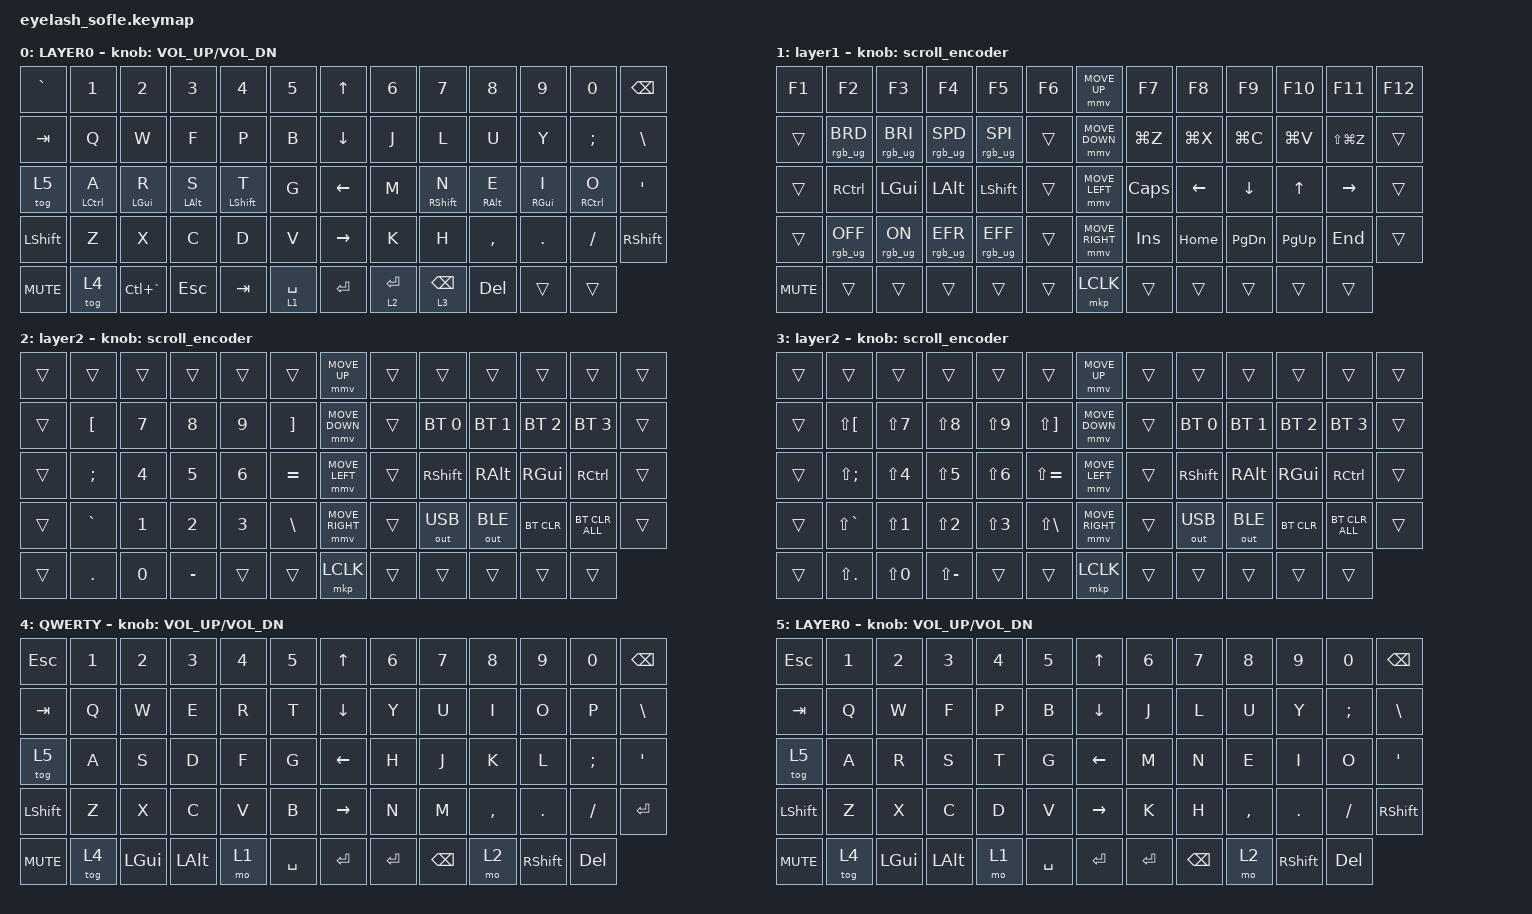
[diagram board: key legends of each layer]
#define ZMK_POINTING_DEFAULT_MOVE_VAL 1200  // 600
#define ZMK_POINTING_DEFAULT_SCRL_VAL 25   // 10

#include <input/processors.dtsi>
#include <zephyr/dt-bindings/input/input-event-codes.h>
#include <behaviors.dtsi>
#include <dt-bindings/zmk/bt.h>
#include <dt-bindings/zmk/keys.h>
#include <dt-bindings/zmk/outputs.h>
#include <dt-bindings/zmk/pointing.h>
#include <dt-bindings/zmk/rgb.h>

&mmv_input_listener { input-processors = <&zip_xy_scaler 2 1>; };

&msc_input_listener { input-processors = <&zip_scroll_scaler 2 1>; };

&msc {
    acceleration-exponent = <1>;      // 0
    time-to-max-speed-ms = <100>;       // 300
    delay-ms = <0>;                   // 0
};

&mmv {
    time-to-max-speed-ms = <500>;
    acceleration-exponent = <1>;
    trigger-period-ms = <16>;
};

&soft_off { hold-time-ms = <2000>; };

/ {
    scroll_encoder: scroll_encoder {
        compatible = "zmk,behavior-sensor-rotate";
        #sensor-binding-cells = <0>;
        bindings = <&msc SCRL_DOWN>, <&msc SCRL_UP>;

        tap-ms = <100>;
    };

    u_lt: u_lt {
        compatible = "zmk,behavior-hold-tap";
        label = "U_LT";
        bindings = <&mo>, <&kp>;

        #binding-cells = <2>;
        flavor = "tap-preferred";
        tapping-term-ms = <200>;
    };

    u_mt: u_mt {
        compatible = "zmk,behavior-hold-tap";
        label = "U_MT";
        bindings = <&kp>, <&kp>;

        #binding-cells = <2>;
        flavor = "tap-preferred";
        tapping-term-ms = <200>;
    };

    behaviors {
    };

    combos {
        compatible = "zmk,combos";

        softoff {
            bindings = <&soft_off>;
            key-positions = <14 28 40>;
        };
    };

    keymap {
        compatible = "zmk,keymap";

        BASE {
            bindings = <
&kp GRAVE   &kp N1         &kp N2         &kp N3        &kp N4         &kp N5           &kp UP_ARROW     &kp N6       &kp N7             &kp N8        &kp N9        &kp N0         &kp BACKSPACE
&kp TAB     &kp Q          &kp W          &kp F         &kp P          &kp B            &kp DOWN_ARROW   &kp J        &kp L              &kp U         &kp Y         &kp SEMI       &kp BSLH
&tog 5      &u_mt LCTRL A  &u_mt LGUI R   &u_mt LALT S  &u_mt LSHFT T  &kp G            &kp LEFT_ARROW   &kp M        &u_mt RSHFT N      &u_mt RALT E  &u_mt RGUI I  &u_mt RCTRL O  &kp APOS
&kp LSHFT   &kp Z          &kp X          &kp C         &kp D          &kp V            &kp RIGHT_ARROW  &kp K        &kp H              &kp COMMA     &kp DOT       &kp FSLH       &kp RSHFT
&kp C_MUTE  &tog 4         &kp LC(GRAVE)  &kp ESC       &kp TAB        &u_lt 1 SPACE    &kp ENTER        &u_lt 2 RET  &u_lt 3 BACKSPACE  &kp DEL       &trans        &trans
            >;

            sensor-bindings = <&inc_dec_kp C_VOLUME_UP C_VOL_DN>;
            display-name = "LAYER0";
            label = "BASE";
        };

        NAVIGATION {
            bindings = <
&kp F1      &kp F2           &kp F3           &kp F4           &kp F5           &kp F6    &mmv MOVE_UP     &kp F7     &kp F8     &kp F9         &kp F10    &kp F11        &kp F12
&trans      &rgb_ug RGB_BRD  &rgb_ug RGB_BRI  &rgb_ug RGB_SPD  &rgb_ug RGB_SPI  &trans    &mmv MOVE_DOWN   &kp LG(Z)  &kp LG(X)  &kp LG(C)      &kp LG(V)  &kp LS(LG(Z))  &trans
&trans      &kp RCTRL        &kp LGUI         &kp LALT         &kp LSHFT        &trans    &mmv MOVE_LEFT   &kp CAPS   &kp LEFT   &kp DOWN       &kp UP     &kp RIGHT      &trans
&trans      &rgb_ug RGB_OFF  &rgb_ug RGB_ON   &rgb_ug RGB_EFR  &rgb_ug RGB_EFF  &trans    &mmv MOVE_RIGHT  &kp INS    &kp HOME   &kp PAGE_DOWN  &kp PG_UP  &kp END        &trans
&kp C_MUTE  &trans           &trans           &trans           &trans           &trans    &mkp LCLK        &trans     &trans     &trans         &trans     &trans
            >;

            display-name = "layer1";
            sensor-bindings = <&scroll_encoder>;
            label = "Nav";
        };

        NUMBER {
            bindings = <
&trans  &trans     &trans  &trans     &trans  &trans       &mmv MOVE_UP     &trans  &trans        &trans        &trans        &trans          &trans
&trans  &kp LBKT   &kp N7  &kp N8     &kp N9  &kp RBKT     &mmv MOVE_DOWN   &trans  &bt BT_SEL 0  &bt BT_SEL 1  &bt BT_SEL 2  &bt BT_SEL 3    &trans
&trans  &kp SEMI   &kp N4  &kp N5     &kp N6  &kp EQUAL    &mmv MOVE_LEFT   &trans  &kp RSHFT     &kp RALT      &kp RGUI      &kp RCTRL       &trans
&trans  &kp GRAVE  &kp N1  &kp N2     &kp N3  &kp BSLH     &mmv MOVE_RIGHT  &trans  &out OUT_USB  &out OUT_BLE  &bt BT_CLR    &bt BT_CLR_ALL  &trans
&trans  &kp DOT    &kp N0  &kp MINUS  &trans  &trans       &mkp LCLK        &trans  &trans        &trans        &trans        &trans
            >;

            display-name = "layer2";
            sensor-bindings = <&scroll_encoder>;
            label = "Num";
        };

        SYMBOL {
            display-name = "layer2";
            bindings = <
&trans  &trans         &trans      &trans         &trans      &trans           &mmv MOVE_UP     &trans  &trans        &trans        &trans        &trans          &trans
&trans  &kp LS(LBKT)   &kp LS(N7)  &kp LS(N8)     &kp LS(N9)  &kp LS(RBKT)     &mmv MOVE_DOWN   &trans  &bt BT_SEL 0  &bt BT_SEL 1  &bt BT_SEL 2  &bt BT_SEL 3    &trans
&trans  &kp LS(SEMI)   &kp LS(N4)  &kp LS(N5)     &kp LS(N6)  &kp LS(EQUAL)    &mmv MOVE_LEFT   &trans  &kp RSHFT     &kp RALT      &kp RGUI      &kp RCTRL       &trans
&trans  &kp LS(GRAVE)  &kp LS(N1)  &kp LS(N2)     &kp LS(N3)  &kp LS(BSLH)     &mmv MOVE_RIGHT  &trans  &out OUT_USB  &out OUT_BLE  &bt BT_CLR    &bt BT_CLR_ALL  &trans
&trans  &kp LS(DOT)    &kp LS(N0)  &kp LS(MINUS)  &trans      &trans           &mkp LCLK        &trans  &trans        &trans        &trans        &trans
            >;

            sensor-bindings = <&scroll_encoder>;
            label = "Sym";
        };

        QWERTY {
            display-name = "QWERTY";
            bindings = <
&kp ESC     &kp N1  &kp N2        &kp N3        &kp N4  &kp N5       &kp UP_ARROW     &kp N6   &kp N7         &kp N8     &kp N9           &kp N0      &kp BACKSPACE
&kp TAB     &kp Q   &kp W         &kp E         &kp R   &kp T        &kp DOWN_ARROW   &kp Y    &kp U          &kp I      &kp O            &kp P       &kp BSLH
&tog 5      &kp A   &kp S         &kp D         &kp F   &kp G        &kp LEFT_ARROW   &kp H    &kp J          &kp K      &kp L            &kp SEMI    &kp APOS
&kp LSHFT   &kp Z   &kp X         &kp C         &kp V   &kp B        &kp RIGHT_ARROW  &kp N    &kp M          &kp COMMA  &kp DOT          &kp FSLH    &kp ENTER
&kp C_MUTE  &tog 4  &kp LEFT_GUI  &kp LEFT_ALT  &mo 1   &kp SPACE    &kp ENTER        &kp RET  &kp BACKSPACE  &mo 2      &kp RIGHT_SHIFT  &kp DELETE
            >;

            sensor-bindings = <&inc_dec_kp C_VOLUME_UP C_VOL_DN>;
            label = "QWERTY";
        };

        COLEMAK {
            label = "COLEMAK";
            display-name = "LAYER0";
            bindings = <
&kp ESC     &kp N1  &kp N2        &kp N3        &kp N4  &kp N5       &kp UP_ARROW     &kp N6   &kp N7         &kp N8     &kp N9           &kp N0      &kp BACKSPACE
&kp TAB     &kp Q   &kp W         &kp F         &kp P   &kp B        &kp DOWN_ARROW   &kp J    &kp L          &kp U      &kp Y            &kp SEMI    &kp BSLH
&tog 5      &kp A   &kp R         &kp S         &kp T   &kp G        &kp LEFT_ARROW   &kp M    &kp N          &kp E      &kp I            &kp O       &kp APOS
&kp LSHFT   &kp Z   &kp X         &kp C         &kp D   &kp V        &kp RIGHT_ARROW  &kp K    &kp H          &kp COMMA  &kp DOT          &kp FSLH    &kp RSHFT
&kp C_MUTE  &tog 4  &kp LEFT_GUI  &kp LEFT_ALT  &mo 1   &kp SPACE    &kp ENTER        &kp RET  &kp BACKSPACE  &mo 2      &kp RIGHT_SHIFT  &kp DELETE
            >;

            sensor-bindings = <&inc_dec_kp C_VOLUME_UP C_VOL_DN>;
        };
    };
};
